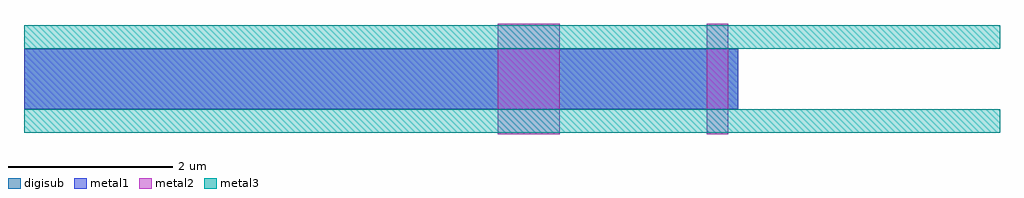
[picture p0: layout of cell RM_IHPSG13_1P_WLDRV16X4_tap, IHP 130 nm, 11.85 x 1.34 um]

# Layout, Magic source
magic
tech ihp-sg13cmos5l
magscale 1 2
<< digisub >>
rect 0 3420 1734 3568
<< metal1 >>
rect 0 3420 1734 3568
<< metal2 >>
rect 1150 3360 1301 3628
rect 1657 3360 1709 3628
<< metal3 >>
rect 0 3568 2369 3624
rect 0 3364 2369 3420
<< properties >>
string GDS_END 270212
string GDS_FILE $PDKPATH/libs.ref/sg13cmos5l_sram/gds/RM_IHPSG13_1P_1024x8_c2_bm_bist.gds
string GDS_START 269824
<< end >>
